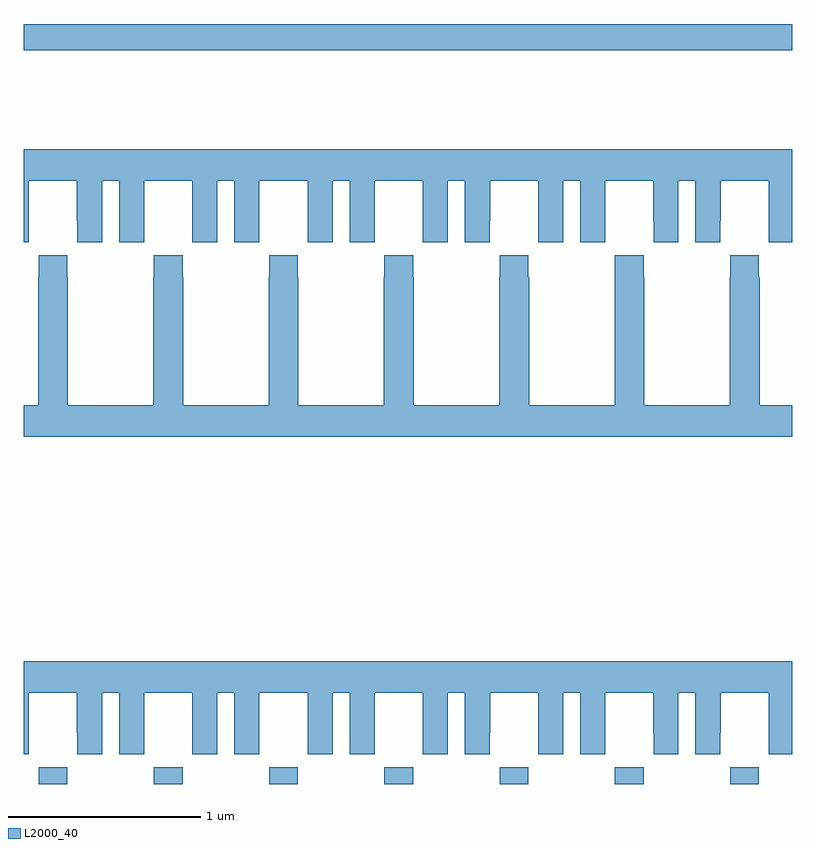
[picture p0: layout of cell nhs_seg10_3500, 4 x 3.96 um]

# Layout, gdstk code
import gdstk
lib = gdstk.Library(unit=1e-6, precision=1e-09)
def R(c, l, rs):  # rectangles x0, y0, x1, y1
    for r in rs: c.add(gdstk.rectangle(r[:2], r[2:], *l))
def A(c, l, x, y, w, h, nx, ny, dx, dy):  # array of equal rectangles
    R(c, l, [(x+i*dx, y+j*dy, x+i*dx+w, y+j*dy+h) for i in range(nx) for j in range(ny)])
def P(c, l, *ps):  # polygons
    for p in ps: c.add(gdstk.Polygon(p, *l))
L2000_40 = (2000, 40)

nhs_seg10_3500 = lib.new_cell('nhs_seg10_3500')
A(nhs_seg10_3500, L2000_40, 301.077, 1306.5, 0.15, 0.088, 7, 1, 0.6, 0)
R(nhs_seg10_3500, L2000_40, [(301,1310.32,305,1310.456)])
P(nhs_seg10_3500, L2000_40, [(301,1309.32),(301.026,1309.32),(301.026,1309.432),(301.027,1309.432),(301.027,1309.64),(301.277,1309.64),(301.277,1309.432),(301.278,1309.432),(301.278,1309.32),(301.408,1309.32),(301.408,1309.64),(301.496,1309.64),(301.496,1309.32),(301.626,1309.32),(301.626,1309.432),(301.627,1309.432),(301.627,1309.64),(301.877,1309.64),(301.877,1309.432),(301.878,1309.432),(301.878,1309.32),(302.008,1309.32),(302.008,1309.64),(302.096,1309.64),(302.096,1309.32),(302.226,1309.32),(302.226,1309.432),(302.227,1309.432),(302.227,1309.64),(302.477,1309.64),(302.477,1309.432),(302.478,1309.432),(302.478,1309.32),(302.608,1309.32),(302.608,1309.64),(302.696,1309.64),(302.696,1309.32),(302.826,1309.32),(302.826,1309.432),(302.827,1309.432),(302.827,1309.64),(303.077,1309.64),(303.077,1309.432),(303.078,1309.432),(303.078,1309.32),(303.208,1309.32),(303.208,1309.64),(303.296,1309.64),(303.296,1309.32),(303.426,1309.32),(303.426,1309.432),(303.427,1309.432),(303.427,1309.64),(303.677,1309.64),(303.677,1309.432),(303.678,1309.432),(303.678,1309.32),(303.808,1309.32),(303.808,1309.64),(303.896,1309.64),(303.896,1309.32),(304.026,1309.32),(304.026,1309.432),(304.027,1309.432),(304.027,1309.64),(304.277,1309.64),(304.277,1309.432),(304.278,1309.432),(304.278,1309.32),(304.408,1309.32),(304.408,1309.64),(304.496,1309.64),(304.496,1309.32),(304.626,1309.32),(304.626,1309.432),(304.627,1309.432),(304.627,1309.64),(304.877,1309.64),(304.877,1309.432),(304.878,1309.432),(304.878,1309.32),(305,1309.32),(305,1309.804),(301,1309.804)],
  [(305,1308.472),(304.83,1308.472),(304.83,1309.139),(304.827,1309.139),(304.827,1309.252),(304.677,1309.252),(304.677,1309.139),(304.675,1309.139),(304.675,1308.472),(304.23,1308.472),(304.23,1309.139),(304.227,1309.139),(304.227,1309.252),(304.077,1309.252),(304.077,1309.139),(304.075,1309.139),(304.075,1308.472),(303.63,1308.472),(303.63,1309.139),(303.627,1309.139),(303.627,1309.252),(303.477,1309.252),(303.477,1309.139),(303.475,1309.139),(303.475,1308.472),(303.03,1308.472),(303.03,1309.139),(303.027,1309.139),(303.027,1309.252),(302.877,1309.252),(302.877,1309.139),(302.875,1309.139),(302.875,1308.472),(302.43,1308.472),(302.43,1309.139),(302.427,1309.139),(302.427,1309.252),(302.277,1309.252),(302.277,1309.139),(302.275,1309.139),(302.275,1308.472),(301.83,1308.472),(301.83,1309.139),(301.827,1309.139),(301.827,1309.252),(301.677,1309.252),(301.677,1309.139),(301.675,1309.139),(301.675,1308.472),(301.23,1308.472),(301.23,1309.139),(301.227,1309.139),(301.227,1309.252),(301.077,1309.252),(301.077,1309.139),(301.075,1309.139),(301.075,1308.472),(301,1308.472),(301,1308.308),(305,1308.308)],
  [(301.026,1306.768),(301.027,1306.768),(301.027,1306.976),(301.277,1306.976),(301.277,1306.768),(301.278,1306.768),(301.278,1306.656),(301.408,1306.656),(301.408,1306.976),(301.496,1306.976),(301.496,1306.656),(301.626,1306.656),(301.626,1306.768),(301.627,1306.768),(301.627,1306.976),(301.877,1306.976),(301.877,1306.768),(301.878,1306.768),(301.878,1306.656),(302.008,1306.656),(302.008,1306.976),(302.096,1306.976),(302.096,1306.656),(302.226,1306.656),(302.226,1306.768),(302.227,1306.768),(302.227,1306.976),(302.477,1306.976),(302.477,1306.768),(302.478,1306.768),(302.478,1306.656),(302.608,1306.656),(302.608,1306.976),(302.696,1306.976),(302.696,1306.656),(302.826,1306.656),(302.826,1306.768),(302.827,1306.768),(302.827,1306.976),(303.077,1306.976),(303.077,1306.768),(303.078,1306.768),(303.078,1306.656),(303.208,1306.656),(303.208,1306.976),(303.296,1306.976),(303.296,1306.656),(303.426,1306.656),(303.426,1306.768),(303.427,1306.768),(303.427,1306.976),(303.677,1306.976),(303.677,1306.768),(303.678,1306.768),(303.678,1306.656),(303.808,1306.656),(303.808,1306.976),(303.896,1306.976),(303.896,1306.656),(304.026,1306.656),(304.026,1306.768),(304.027,1306.768),(304.027,1306.976),(304.277,1306.976),(304.277,1306.768),(304.278,1306.768),(304.278,1306.656),(304.408,1306.656),(304.408,1306.976),(304.496,1306.976),(304.496,1306.656),(304.626,1306.656),(304.626,1306.768),(304.627,1306.768),(304.627,1306.976),(304.877,1306.976),(304.877,1306.768),(304.878,1306.768),(304.878,1306.656),(305,1306.656),(305,1307.14),(301,1307.14),(301,1306.656),(301.026,1306.656)])

lib.write_gds('nhs_seg10_3500.gds')
